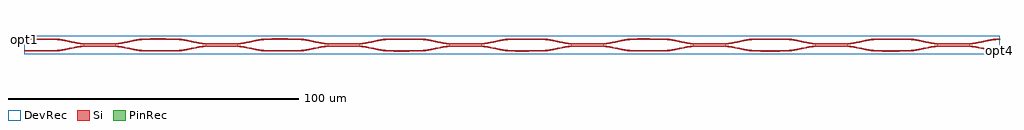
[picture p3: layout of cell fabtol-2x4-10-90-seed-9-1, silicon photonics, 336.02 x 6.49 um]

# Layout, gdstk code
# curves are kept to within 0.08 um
import gdstk
lib = gdstk.Library(unit=1e-6, precision=1e-09)
def R(c, l, rs):  # rectangles x0, y0, x1, y1
    for r in rs: c.add(gdstk.rectangle(r[:2], r[2:], *l))
def P(c, l, *ps):  # polygons
    for p in ps: c.add(gdstk.Polygon(p, *l))
Si = (1, 0)
PinRec = (1, 10)
DevRec = (68, 0)

layer_3_0_phase_sec_2_40 = lib.new_cell('layer-3_0_phase_sec_2$40')
P(layer_3_0_phase_sec_2_40, Si, [(5.895,-0.233),(0,-0.225),(0,0.225),(10,0.225),(10,-0.225)])

layer_3_0_phase_sec_1_40 = lib.new_cell('layer-3_0_phase_sec_1$40')
P(layer_3_0_phase_sec_1_40, Si, [(6.524,-0.244),(0,-0.225),(0,0.225),(10,0.225),(10,-0.225)])

layer_0_0_phase_sec_1_40 = lib.new_cell('layer-0_0_phase_sec_1$40')
P(layer_0_0_phase_sec_1_40, Si, [(2.677,-0.227),(0,-0.225),(0,0.225),(10,0.225),(10,-0.225)])

layer_1_0_phase_sec_1_40 = lib.new_cell('layer-1_0_phase_sec_1$40')
P(layer_1_0_phase_sec_1_40, Si, [(1.362,-0.231),(0,-0.225),(0,0.225),(10,0.225),(10,-0.225)])

layer_3_0_phase_sec_3_40 = lib.new_cell('layer-3_0_phase_sec_3$40')
P(layer_3_0_phase_sec_3_40, Si, [(7.241,-0.244),(0,-0.225),(0,0.225),(10,0.225),(10,-0.225)])

layer_0_0_phase_sec_2_40 = lib.new_cell('layer-0_0_phase_sec_2$40')
P(layer_0_0_phase_sec_2_40, Si, [(1.373,-0.245),(0,-0.225),(0,0.225),(10,0.225),(10,-0.225)])

layer_1_0_phase_sec_2_40 = lib.new_cell('layer-1_0_phase_sec_2$40')
P(layer_1_0_phase_sec_2_40, Si, [(2.323,-0.232),(0,-0.225),(0,0.225),(10,0.225),(10,-0.225)])

layer_3_0_phase_sec_0_40 = lib.new_cell('layer-3_0_phase_sec_0$40')
P(layer_3_0_phase_sec_0_40, Si, [(2.967,-0.236),(0,-0.225),(0,0.225),(10,0.225),(10,-0.225)])

layer_0_0_phase_sec_3_40 = lib.new_cell('layer-0_0_phase_sec_3$40')
P(layer_0_0_phase_sec_3_40, Si, [(2.198,-0.234),(0,-0.225),(0,0.225),(10,0.225),(10,-0.225)])

layer_1_0_phase_sec_3_40 = lib.new_cell('layer-1_0_phase_sec_3$40')
P(layer_1_0_phase_sec_3_40, Si, [(6.586,-0.244),(0,-0.225),(0,0.225),(10,0.225),(10,-0.225)])

layer_0_0_phase_sec_0_40 = lib.new_cell('layer-0_0_phase_sec_0$40')
P(layer_0_0_phase_sec_0_40, Si, [(5.529,-0.238),(0,-0.225),(0,0.225),(10,0.225),(10,-0.225)])

layer_2_0_phase_sec_0_40 = lib.new_cell('layer-2_0_phase_sec_0$40')
P(layer_2_0_phase_sec_0_40, Si, [(4.597,-0.238),(0,-0.225),(0,0.225),(10,0.225),(10,-0.225)])

layer_1_0_phase_sec_0_40 = lib.new_cell('layer-1_0_phase_sec_0$40')
P(layer_1_0_phase_sec_0_40, Si, [(5.475,-0.247),(0,-0.225),(0,0.225),(10,0.225),(10,-0.225)])

layer_2_0_phase_sec_1_40 = lib.new_cell('layer-2_0_phase_sec_1$40')
P(layer_2_0_phase_sec_1_40, Si, [(3.426,-0.243),(0,-0.225),(0,0.225),(10,0.225),(10,-0.225)])

dc_arm_down_40 = lib.new_cell('dc_arm_down$40')
R(dc_arm_down_40, Si, [(12,-0.55,20,-0.1)])
P(dc_arm_down_40, Si, [(32,-2.225),(30.861,-2.188),(29.344,-2.033),(22.966,-0.793),(21.481,-0.613),(20,-0.55),(20,-0.1),(21.139,-0.137),(22.656,-0.292),(29.034,-1.532),(30.519,-1.712),(32,-1.775)],
  [(0,-2.225),(0,-1.775),(1.481,-1.712),(2.966,-1.532),(9.344,-0.292),(10.861,-0.137),(12,-0.1),(12,-0.55),(10.519,-0.613),(9.034,-0.793),(2.656,-2.033),(1.139,-2.188)])

dc_arm_up_40 = lib.new_cell('dc_arm_up$40')
R(dc_arm_up_40, Si, [(12,0.1,20,0.55)])
P(dc_arm_up_40, Si, [(20,0.1),(20,0.55),(21.481,0.613),(22.966,0.793),(29.344,2.033),(30.861,2.188),(32,2.225),(32,1.775),(30.519,1.712),(29.034,1.532),(22.656,0.292),(21.139,0.137)],
  [(12,0.1),(10.861,0.137),(9.344,0.292),(2.966,1.532),(1.481,1.712),(0,1.775),(0,2.225),(1.139,2.188),(2.656,2.033),(9.034,0.793),(10.519,0.613),(12,0.55)])

dc_40 = lib.new_cell('dc$40')
dc_40.add(gdstk.Reference(dc_arm_down_40, (0,0)))
dc_40.add(gdstk.Reference(dc_arm_up_40, (0,0)))

layer_2_0_phase_sec_2_40 = lib.new_cell('layer-2_0_phase_sec_2$40')
P(layer_2_0_phase_sec_2_40, Si, [(1.071,-0.245),(0,-0.225),(0,0.225),(10,0.225),(10,-0.225)])

layer_2_0_phase_sec_3_40 = lib.new_cell('layer-2_0_phase_sec_3$40')
P(layer_2_0_phase_sec_3_40, Si, [(6.24,-0.232),(0,-0.225),(0,0.225),(10,0.225),(10,-0.225)])

fabtol_2x4_10_90_seed_9_ = lib.new_cell('fabtol-2x4-10-90-seed-9-1')
R(fabtol_2x4_10_90_seed_9_, DevRec, [(0,-1,336,5.491)])
fabtol_2x4_10_90_seed_9_.add(gdstk.FlexPath([(335.99,0.244),(336.01,0.244)], 0.45, ends="flush", simple_path=True, layer=1, datatype=10))  # PinRec
fabtol_2x4_10_90_seed_9_.add(gdstk.FlexPath([(335.99,4.244),(336.01,4.244)], 0.45, ends="flush", simple_path=True, layer=1, datatype=10))  # PinRec
fabtol_2x4_10_90_seed_9_.add(gdstk.FlexPath([(0.01,4.244),(-0.01,4.244)], 0.45, ends="flush", simple_path=True, layer=1, datatype=10))  # PinRec
fabtol_2x4_10_90_seed_9_.add(gdstk.Reference(layer_3_0_phase_sec_2_40, (294,4.244)))
fabtol_2x4_10_90_seed_9_.add(gdstk.Reference(layer_3_0_phase_sec_1_40, (252,0.244)))
fabtol_2x4_10_90_seed_9_.add(gdstk.Reference(layer_0_0_phase_sec_1_40, (0,0.244)))
fabtol_2x4_10_90_seed_9_.add(gdstk.Reference(layer_1_0_phase_sec_1_40, (84,0.244)))
fabtol_2x4_10_90_seed_9_.add(gdstk.Reference(layer_3_0_phase_sec_3_40, (294,0.244)))
fabtol_2x4_10_90_seed_9_.add(gdstk.Reference(layer_0_0_phase_sec_2_40, (42,4.244)))
fabtol_2x4_10_90_seed_9_.add(gdstk.Reference(layer_1_0_phase_sec_2_40, (126,4.244)))
fabtol_2x4_10_90_seed_9_.add(gdstk.Reference(layer_3_0_phase_sec_0_40, (252,4.244)))
fabtol_2x4_10_90_seed_9_.add(gdstk.Reference(layer_0_0_phase_sec_3_40, (42,0.244)))
fabtol_2x4_10_90_seed_9_.add(gdstk.Reference(layer_1_0_phase_sec_3_40, (126,0.244)))
fabtol_2x4_10_90_seed_9_.add(gdstk.Reference(layer_0_0_phase_sec_0_40, (0,4.244)))
fabtol_2x4_10_90_seed_9_.add(gdstk.Reference(layer_2_0_phase_sec_0_40, (168,4.244)))
fabtol_2x4_10_90_seed_9_.add(gdstk.Reference(layer_1_0_phase_sec_0_40, (84,4.244)))
fabtol_2x4_10_90_seed_9_.add(gdstk.Reference(layer_2_0_phase_sec_1_40, (168,0.244)))
fabtol_2x4_10_90_seed_9_.add(gdstk.Reference(dc_40, (10,2.244)))
fabtol_2x4_10_90_seed_9_.add(gdstk.Reference(dc_40, (52,2.244)))
fabtol_2x4_10_90_seed_9_.add(gdstk.Reference(dc_40, (94,2.244)))
fabtol_2x4_10_90_seed_9_.add(gdstk.Reference(dc_40, (136,2.244)))
fabtol_2x4_10_90_seed_9_.add(gdstk.Reference(dc_40, (178,2.244)))
fabtol_2x4_10_90_seed_9_.add(gdstk.Reference(dc_40, (220,2.244)))
fabtol_2x4_10_90_seed_9_.add(gdstk.Reference(dc_40, (262,2.244)))
fabtol_2x4_10_90_seed_9_.add(gdstk.Reference(dc_40, (304,2.244)))
fabtol_2x4_10_90_seed_9_.add(gdstk.Reference(layer_2_0_phase_sec_2_40, (210,4.244)))
fabtol_2x4_10_90_seed_9_.add(gdstk.Reference(layer_2_0_phase_sec_3_40, (210,0.244)))
fabtol_2x4_10_90_seed_9_.add(gdstk.Label('opt4', (336,0.244), layer=1, texttype=10))
fabtol_2x4_10_90_seed_9_.add(gdstk.Label('opt3', (336,4.244), layer=1, texttype=10))
fabtol_2x4_10_90_seed_9_.add(gdstk.Label('opt1', (0,4.244), layer=1, texttype=10))

lib.write_gds('fabtol-2x4-10-90-seed-9-1.gds')
